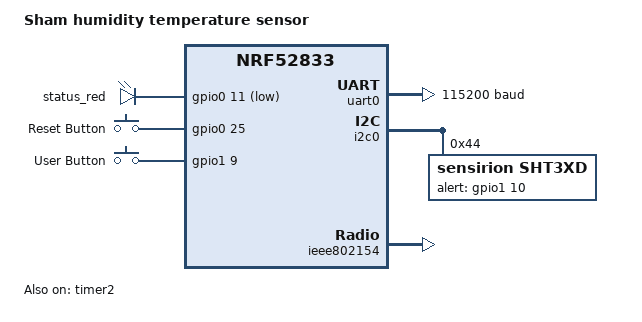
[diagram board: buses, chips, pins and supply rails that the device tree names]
/*
 * Copyright (c) 2024 Tareq Mhisen
 */

/dts-v1/;
#include <nordic/nrf52833_qdaa.dtsi>
#include "sham_nrf52833-pinctrl.dtsi"

/ {
	model = "Sham humidity temperature sensor";
	compatible = "sham_TBZ,sham_nrf52833";

	chosen {
		zephyr,console = &uart0;
		zephyr,sram = &sram0;
		zephyr,flash = &flash0;
		zephyr,code-partition = &slot0_partition;
		zephyr,ieee802154 = &ieee802154;
	};

	leds {
		compatible = "gpio-leds";
		status_red: led_red {
			gpios = <&gpio0 11 GPIO_ACTIVE_LOW>;
		};
	};

	buttons {
		compatible = "gpio-keys";
		reset_button: button_0 {
			gpios = <&gpio0 25 GPIO_ACTIVE_HIGH>;
			label = "Reset Button";
		};
		user_button: button_1 {
			gpios = <&gpio1 9 GPIO_ACTIVE_HIGH>;
			label = "User Button";
		};
	};
};

&gpiote {
	status = "okay";
};

&gpio0 {
	status = "okay";
};

&gpio1 {
	status = "okay";
};

&uicr {
	gpio-as-nreset;
};

&reg1 {
	regulator-initial-mode = <NRF5X_REG_MODE_DCDC>;
};

&uart0 {
	compatible = "nordic,nrf-uarte";
	status = "okay";
	disable-rx;
	current-speed = <115200>;
	pinctrl-0 = <&uart0_default>;
	pinctrl-1 = <&uart0_sleep>;
	pinctrl-names = "default", "sleep";
};

&i2c0 {/* SDA P0.26, SCL P0.27, ALERT P1.10 */
	compatible = "nordic,nrf-twim";
	status = "okay";
	pinctrl-0 = <&i2c0_default>;
	pinctrl-1 = <&i2c0_sleep>;
	pinctrl-names = "default", "sleep";
	sht3xd@44 {
		compatible = "sensirion,sht3xd";
		reg = <0x44>;
		alert-gpios = <&gpio1 10 GPIO_ACTIVE_HIGH>;
	};
};

&timer2 {
	status = "okay";
};

/* Enable IEEE 802.14.5 radio in order to zigbee to work */
&ieee802154 {
	status = "okay";
};

/*
 * All the information regarding partitions defined here will be ignored by Nordic SDK, as soon as a second image (i.e. mcuboot) is enabled.
 * Nordic has their own approach to define partitions. In case you want to know more about the approach from Nordic,
  * you can have a look on this documentation: https: //developer.nordicsemi.com/nRF_Connect_SDK/doc/latest/nrf/scripts/partition_manager/partition_manager.html
  */
 &flash0 {

	 partitions {
		 compatible = "fixed-partitions";
		#address-cells = <1>;
		#size-cells = <1>;

		boot_partition: partition@0 {
			label = "mcuboot";
			reg = <0x00000000 0xC000>;
		};
		slot0_partition: partition@c000 {
			label = "image-0";
			reg = <0x0000C000 0x37000>;
		};
		slot1_partition: partition@43000 {
			label = "image-1";
			reg = <0x00043000 0x37000>;
		};
		storage_partition: partition@7a000 {
			label = "storage";
			reg = <0x0007A000 0x00006000>;
		};
	};
};
